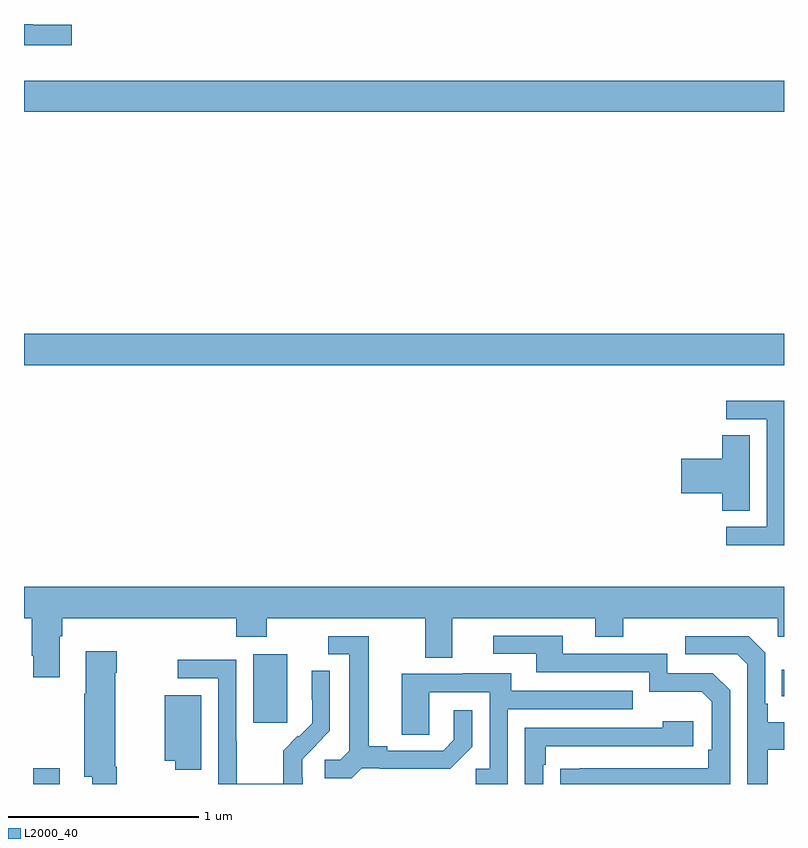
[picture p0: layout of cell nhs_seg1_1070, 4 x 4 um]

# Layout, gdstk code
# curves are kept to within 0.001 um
import gdstk
lib = gdstk.Library(unit=1e-6, precision=1e-09)
def R(c, l, rs):  # rectangles x0, y0, x1, y1
    for r in rs: c.add(gdstk.rectangle(r[:2], r[2:], *l))
def P(c, l, *ps):  # polygons
    for p in ps: c.add(gdstk.Polygon(p, *l))
L2000_40 = (2000, 40)

nhs_seg1_1070 = lib.new_cell('nhs_seg1_1070')
R(nhs_seg1_1070, L2000_40, [(169.049,544.199,169.189,544.282), (170.207,544.521,170.386,544.882), (172.987,544.661,173,544.801), (169,546.404,173,546.568), (169,547.736,173,547.9)])
P(nhs_seg1_1070, L2000_40, [(169.252,548.194),(169.046,548.194),(169.046,548.199),(169,548.199),(169,548.087),(169.252,548.087)],
  [(173,546.216),(172.695,546.216),(172.695,546.12),(172.908,546.12),(172.908,545.553),(172.695,545.553),(172.695,545.455),(173,545.455)],
  [(172.819,546.035),(172.676,546.035),(172.676,545.912),(172.458,545.912),(172.458,545.729),(172.676,545.729),(172.676,545.638),(172.819,545.638)],
  [(169.189,544.976),(169.202,544.976),(169.202,545.072),(170.117,545.072),(170.117,544.973),(170.277,544.973),(170.277,545.072),(171.113,545.072),(171.113,544.864),(171.253,544.864),(171.253,545.072),(172.007,545.072),(172.007,544.973),(172.155,544.973),(172.155,545.072),(172.968,545.072),(172.968,544.973),(173,544.973),(173,545.236),(169,545.236),(169,545.072),(169.042,545.072),(169.042,544.873),(169.049,544.873),(169.049,544.761),(169.189,544.761)],
  [(172.716,544.692),(172.626,544.782),(172.386,544.782),(172.386,544.884),(171.835,544.884),(171.835,544.98),(171.471,544.98),(171.471,544.884),(171.695,544.884),(171.695,544.788),(172.29,544.788),(172.29,544.685),(172.567,544.685),(172.62,544.632),(172.62,544.378),(172.6,544.378),(172.6,544.281),(171.823,544.28),(171.823,544.199),(172.716,544.199)],
  [(172.915,544.378),(173,544.378),(173,544.525),(172.915,544.525),(172.915,544.621),(172.902,544.621),(172.902,544.89),(172.815,544.977),(172.479,544.977),(172.479,544.881),(172.755,544.881),(172.806,544.83),(172.806,544.199),(172.915,544.199)],
  [(170.778,544.281),(170.872,544.281),(170.872,544.278),(171.244,544.278),(171.36,544.394),(171.36,544.588),(171.263,544.588),(171.263,544.431),(171.206,544.374),(170.911,544.374),(170.911,544.397),(170.815,544.397),(170.815,544.977),(170.601,544.977),(170.601,544.881),(170.711,544.881),(170.711,544.373),(170.664,544.326),(170.583,544.326),(170.583,544.229),(170.726,544.229)],
  [(169.488,544.291),(169.48,544.291),(169.48,544.784),(169.488,544.784),(169.488,544.897),(169.325,544.897),(169.325,544.673),(169.318,544.673),(169.318,544.238),(169.358,544.238),(169.358,544.199),(169.488,544.199)],
  [(170.466,544.233),(170.464,544.233),(170.464,544.33),(170.61,544.478),(170.61,544.796),(170.514,544.796),(170.514,544.642),(170.516,544.642),(170.516,544.52),(170.445,544.449),(170.442,544.452),(170.365,544.375),(170.365,544.201),(170.121,544.201),(170.121,544.424),(170.118,544.424),(170.118,544.854),(169.809,544.854),(169.809,544.755),(170.022,544.755),(170.022,544.199),(170.466,544.199)],
  [(171.546,544.593),(172.205,544.593),(172.205,544.689),(171.565,544.689),(171.565,544.783),(171.311,544.783),(171.311,544.779),(170.987,544.779),(170.987,544.459),(171.132,544.459),(171.132,544.683),(171.45,544.683),(171.45,544.278),(171.378,544.278),(171.378,544.199),(171.546,544.199)],
  [(169.933,544.666),(169.742,544.666),(169.742,544.322),(169.795,544.322),(169.795,544.273),(169.933,544.273)],
  [(171.732,544.301),(171.745,544.301),(171.745,544.398),(172.522,544.398),(172.522,544.528),(172.361,544.528),(172.361,544.494),(171.636,544.494),(171.636,544.199),(171.732,544.199)])

lib.write_gds('nhs_seg1_1070.gds')
